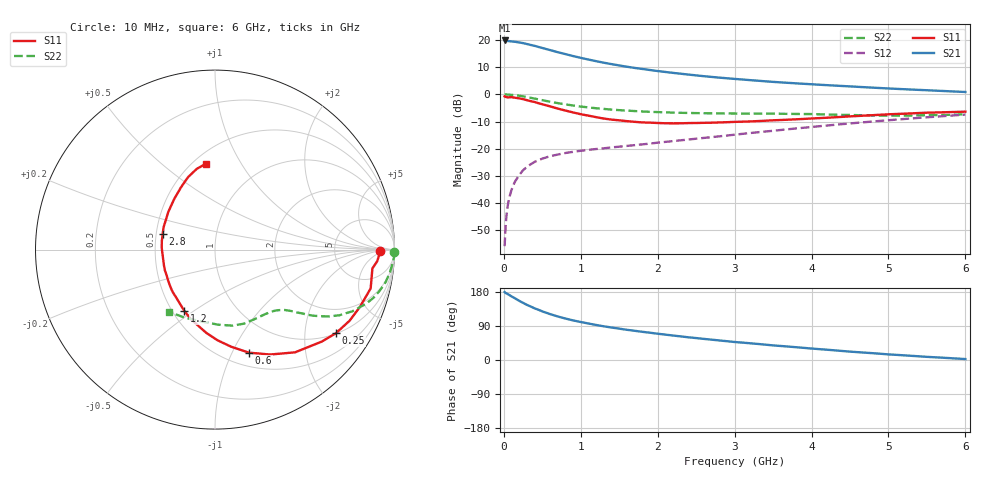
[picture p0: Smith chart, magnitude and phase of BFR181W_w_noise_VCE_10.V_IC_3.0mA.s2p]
! Infineon Technologies  Discrete & RF Semiconductors
! BFR181W
! VCE =  10. V,  IC =  3.0 mA
! Common Emitter S-Parameters:  Jan 2017
# GHz  S  MA  R  50
!  f  S11  S21  S12  S22
! GHz  MAG  ANG  MAG  ANG  MAG  ANG  MAG  ANG
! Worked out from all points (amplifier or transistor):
!   77 points, 10 MHz to 6 GHz, reference 50 ohm
!   highest |S21| = 19.9 dB at 10 MHz (marker M1)
!   |S21| within 3 dB of that: start of sweep to 529.9 MHz
!   unconditionally stable (mu >= 1): 1.658 GHz to 3.754 GHz
!   at 130 MHz: K = 0.11, MSG = 26.3 dB, |S12| = -33.1 dB
!   at 2.2 GHz: K = 1.09, MAG = 10.8 dB, |S12| = -17.2 dB
!   at 6 GHz: K = 0.84, MSG = 4.2 dB, |S12| = -7.4 dB
!   lowest NFmin = 0.87 dB at 450 MHz
!   S11 on the Smith chart (normalised r, x): 10 MHz: 24, -3; 250 MHz: 1.02, -2.88; 600 MHz: 0.64, -1.16; 1.2 GHz: 0.57, -0.46; 2.8 GHz: 0.54, +0.11; 6 GHz: 0.58, +0.72
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0.01  0.9212 -0.6  9.888 179.3  0.0016 87.0  0.9993 -0.7
0.02  0.906 -4.1  9.809 177.2  0.0031 90.8  1 -1.3
0.04  0.8906 -5.9  9.702 175.1  0.0069 86.4  0.9973 -2.8
0.08  0.8879 -11.1  9.556 170.4  0.014 83.6  0.9873 -5.8
0.15  0.8681 -21.6  9.332 162.2  0.0255 77.4  0.9679 -10.8
0.25  0.819 -34.7  8.838 150.7  0.0402 71.0  0.9222 -17.0
0.3  0.7848 -40.8  8.5 145.5  0.0463 68.2  0.8941 -19.7
0.4  0.726 -52.0  7.87 136.3  0.0572 62.6  0.839 -24.2
0.5  0.6596 -62.4  7.186 128.3  0.0656 58.6  0.7843 -27.8
0.6  0.6043 -71.8  6.584 121.2  0.0728 55.6  0.7354 -30.4
0.7  0.5494 -80.4  6.013 114.9  0.078 53.3  0.6926 -32.4
0.8  0.5055 -88.4  5.539 109.4  0.0834 52.1  0.656 -34.1
0.9  0.4663 -96.0  5.101 104.5  0.0876 50.9  0.6256 -35.3
1.1  0.4066 -110.1  4.397 96.3  0.0951 50.0  0.5772 -37.4
1.2  0.3813 -116.7  4.104 92.4  0.0988 49.9  0.557 -38.3
1.6  0.3222 -141.0  3.241 79.7  0.1127 51.5  0.5049 -41.9
2.1  0.2945 -167.5  2.597 67.0  0.1337 54.4  0.4679 -47.7
2.8  0.3049 163.0  2.043 51.6  0.169 56.9  0.4483 -57.9
3.1  0.315 153.1  1.886 45.9  0.1878 57.1  0.4443 -62.4
4.1  0.3664 127.2  1.512 28.7  0.2595 55.2  0.4307 -78.9
5.1  0.4366 108.7  1.269 13.6  0.3437 49.1  0.4073 -103.0
6  0.482 95.7  1.11 2.5  0.4253 41.3  0.431 -126.6
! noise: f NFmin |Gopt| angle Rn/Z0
0.45  0.87  0.47  17  0.27
0.9  0.93  0.42  32  0.26
1.9  1.34  0.24  80  0.21
2.4  1.55  0.21  94  0.23
